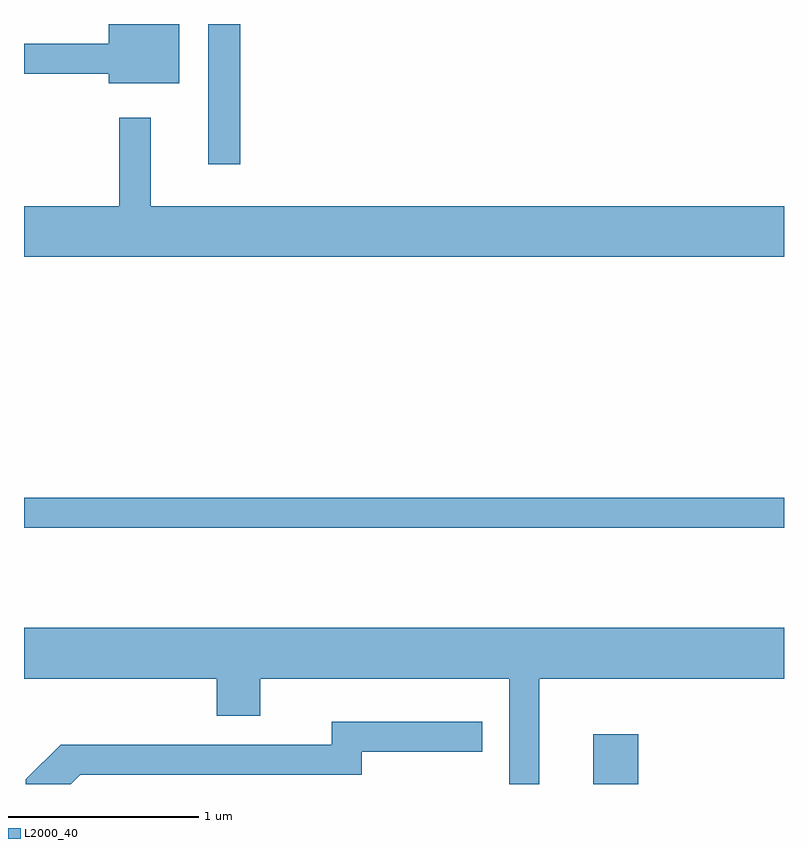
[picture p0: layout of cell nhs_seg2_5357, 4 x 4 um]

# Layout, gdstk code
import gdstk
lib = gdstk.Library(unit=1e-6, precision=1e-09)
def R(c, l, rs):  # rectangles x0, y0, x1, y1
    for r in rs: c.add(gdstk.rectangle(r[:2], r[2:], *l))
def P(c, l, *ps):  # polygons
    for p in ps: c.add(gdstk.Polygon(p, *l))
L2000_40 = (2000, 40)

nhs_seg2_5357 = lib.new_cell('nhs_seg2_5357')
R(nhs_seg2_5357, L2000_40, [(346.606,1007.802,346.844,1008.064), (343.611,1009.151,347.611,1009.309), (344.581,1011.063,344.749,1011.802)])
P(nhs_seg2_5357, L2000_40, [(344.429,1011.802),(344.056,1011.802),(344.056,1011.699),(343.611,1011.699),(343.611,1011.541),(344.056,1011.541),(344.056,1011.491),(344.429,1011.491)],
  [(347.611,1010.844),(344.279,1010.844),(344.279,1011.308),(344.111,1011.308),(344.111,1010.844),(343.611,1010.844),(343.611,1010.576),(347.611,1010.576)],
  [(343.611,1008.356),(344.626,1008.356),(344.626,1008.161),(344.854,1008.161),(344.854,1008.356),(346.166,1008.356),(346.166,1007.802),(346.324,1007.802),(346.324,1008.356),(347.611,1008.356),(347.611,1008.624),(343.611,1008.624)],
  [(343.907,1007.851),(345.389,1007.851),(345.389,1007.971),(346.023,1007.971),(346.023,1008.129),(345.231,1008.129),(345.231,1008.009),(343.804,1008.009),(343.621,1007.827),(343.621,1007.802),(343.858,1007.802)])

lib.write_gds('nhs_seg2_5357.gds')
